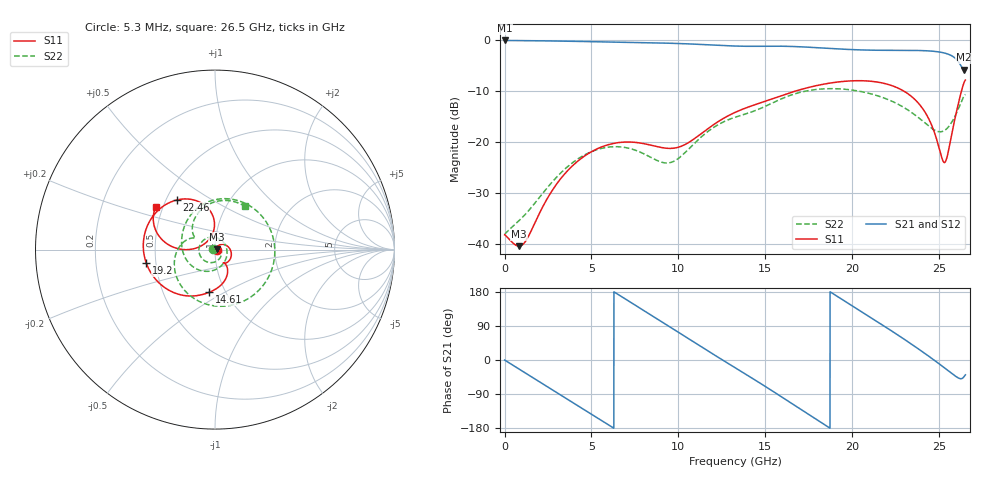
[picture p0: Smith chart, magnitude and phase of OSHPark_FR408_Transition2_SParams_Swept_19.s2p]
! TOUCHSTONE file generated by CST MICROWAVE STUDIO
! Date and time: Tue Jan  7 09:43:30 2020
! Project name: OSHPark_FR408_Transition2.cst
! Parameters = {GND_Plane_XMax=12.5; Cap_Disk_XOffset=0; Cap_Disk2_YCenter=-1.03; Cap_Disk_YCenter=1.03; Cap_Disk_XCenter=7.39; Cap_Disk_Radius=0.5; BottomSupport_Left_YMax=4.76; BottomSupport_Left_YMin=3.74; BottomSupport_Right_YMax=-3.74; BottomSupport_Right_YMin=-4.76; BottomSupport_XMax=11.64; B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
! Header version: 2015
! Port assignment regex: !\s*Touchstone port\s*([0-9]+)\s*=\s*CST MWS port\s*([0-9]+)\s*\(\"(.*)\"\)(\s*mode\s*([0-9]+))?.*
! Touchstone port assignment:
! Touchstone port 1 = CST MWS port 1 ("")
! Touchstone port 2 = CST MWS port 2 ("")
# GHz S MA R 50
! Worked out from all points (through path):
!   5000 points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, 5.3 MHz to 26.5 GHz, reference 50 ohm
!   highest |S21| = 0.00 dB at 5.3 MHz (marker M1); lowest = -5.8 dB at 26.42 GHz (marker M2)
!   group delay of S21, straight-line fit = 80.9 ps
!   lowest |S11| = -40.5 dB at 832.1 MHz (marker M3), VSWR 1.02, Z = 50.9 + j0.127 ohm
!   |S11| at or under -10 dB: start of sweep to 16.7 GHz; 22.97 GHz to 26.27 GHz (3.298 GHz wide, 13.4 % of centre)
!   |S22| runs from -38.1 to -9.5 dB; largest |S21 - S12| = 0
!   S11 on the Smith chart (normalised r, x): 5.3 MHz: 1.02, -0.01; 14.61 GHz: 0.84, -0.42; 19.2 GHz: 0.44, -0.08; 22.46 GHz: 0.57, +0.36; 26.5 GHz: 0.46, +0.26
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0.0053  0.01221 -24.1  0.9999 -0.2  0.9999 -0.2  0.01241 153.9
0.8321  0.009422 7.6  0.9974 -23.8  0.9974 -23.8  0.01679 92.5
2.6871  0.0322 48.3  0.9888 -77.0  0.9888 -77.0  0.03941 -22.6
4.4255  0.06921 18.2  0.9772 -126.8  0.9772 -126.8  0.07173 -96.9
5.5226  0.08856 -5.1  0.9691 -158.1  0.9691 -158.1  0.08613 -138.4
6.5561  0.09868 -26.4  0.9616 172.3  0.9616 172.3  0.08979 -177.8
8.8404  0.08955 -57.7  0.945 106.6  0.945 106.6  0.06501 71.1
10.0223  0.08908 -56.1  0.9328 72.4  0.9328 72.4  0.06942 -14.0
11.3155  0.121 -55.8  0.9131 34.9  0.9131 34.9  0.1123 -89.6
13.2553  0.1957 -78.5  0.8808 -20.3  0.8808 -20.3  0.1753 -169.7
14.6068  0.2395 -97.5  0.8763 -58.5  0.8763 -58.5  0.2099 146.4
16.0855  0.2926 -117.9  0.8766 -102.0  0.8766 -102.0  0.2735 94.1
17.6702  0.3507 -142.7  0.8547 -149.2  0.8547 -149.2  0.3248 27.3
19.1966  0.3904 -169.1  0.825 166.1  0.825 166.1  0.334 -37.9
20.7389  0.4002 162.3  0.8046 121.4  0.8046 121.4  0.3078 -98.9
22.0851  0.3677 135.5  0.7993 81.9  0.7993 81.9  0.2603 -146.4
22.4614  0.3493 127.7  0.7992 70.6  0.7992 70.6  0.2435 -158.6
24.0355  0.2142 96.7  0.7944 21.6  0.7944 21.6  0.1612 159.0
25.2916  0.06275 133.7  0.7522 -20.5  0.7522 -20.5  0.1296 149.2
26.0654  0.227 177.1  0.6281 -46.7  0.6281 -46.7  0.2061 123.5
26.4205  0.3841 153.6  0.5142 -44.0  0.5142 -44.0  0.2841 73.3
26.5  0.4071 144.0  0.5354 -39.2  0.5354 -39.2  0.2934 54.3
